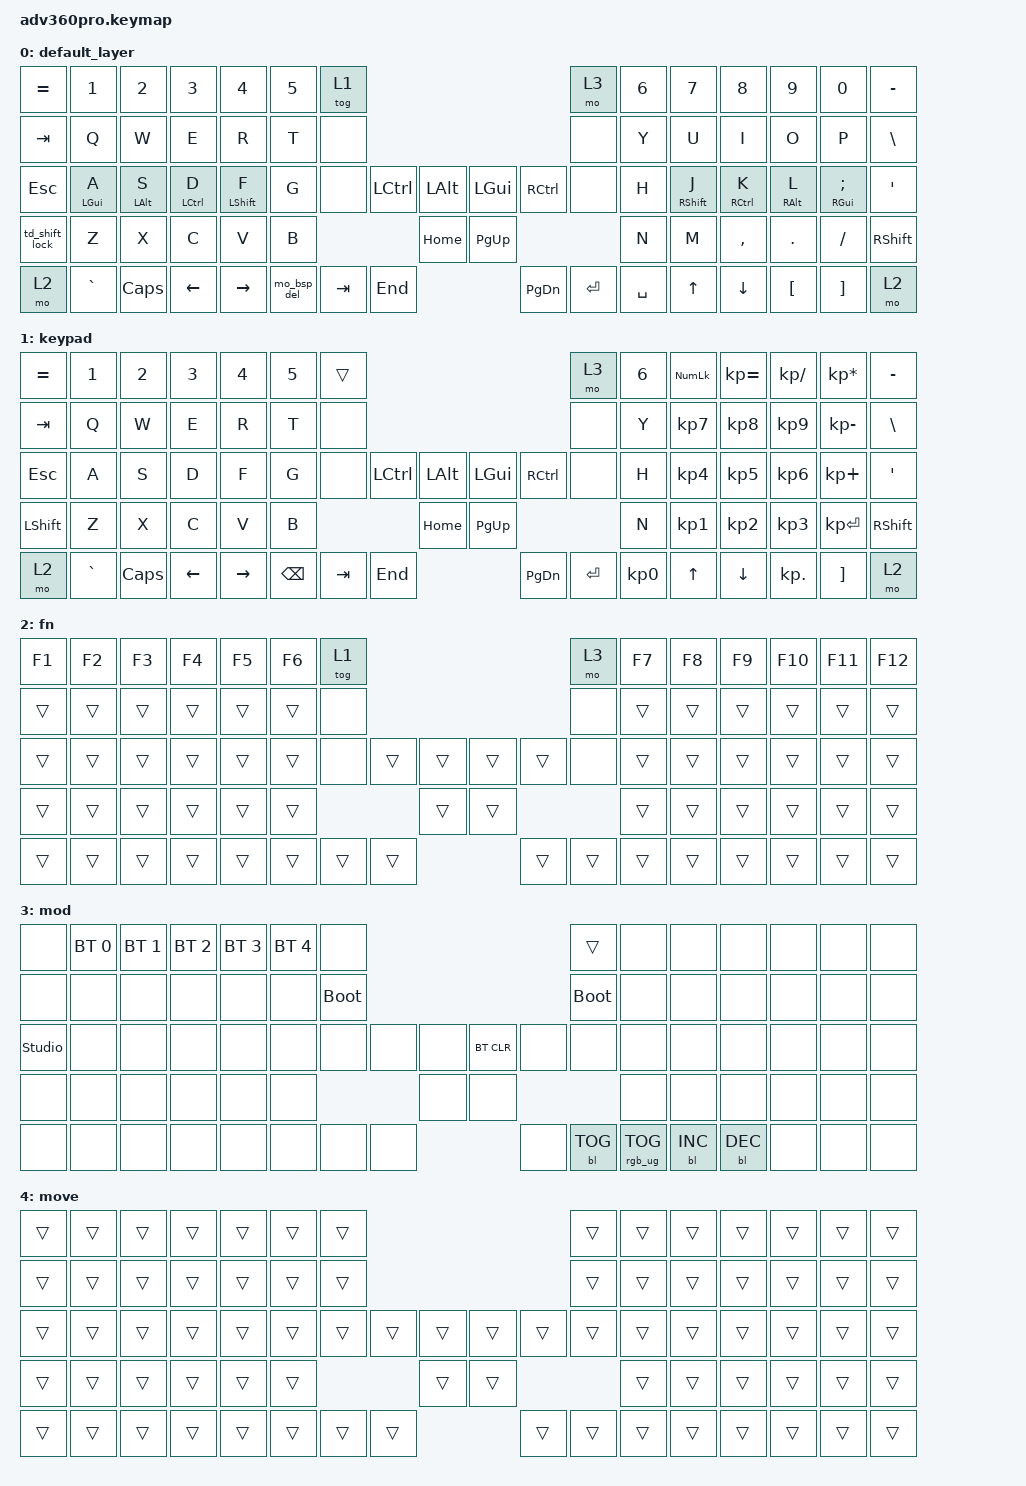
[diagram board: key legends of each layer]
#include <behaviors.dtsi>
#include <dt-bindings/zmk/backlight.h>
#include <dt-bindings/zmk/bt.h>
#include <dt-bindings/zmk/keys.h>
#include <dt-bindings/zmk/rgb.h>
#include <dt-bindings/zmk/pointing.h>

&mt {
    flavor = "balanced";
    quick-tap-ms = <100>;
    require-prior-idle-ms = <100>;
};

/ {
    behaviors {
        td_shift_lock: td_shift_lock {
            compatible = "zmk,behavior-tap-dance";
            label = "TD: Shift, Capslock";
            #binding-cells = <0>;
            bindings = <&kp LSHFT>, <&kp CAPSLOCK>;

            tapping-term-ms = <100>;
        };

        mo_bsp_del: mo_bsp_del {
            compatible = "zmk,behavior-mod-morph";
            label = "BSP / DEL";
            bindings = <&kp BACKSPACE>, <&kp DEL>;

            #binding-cells = <0>;
            mods = <(MOD_LSFT|MOD_RSFT)>;
        };
    };

    keymap {
        compatible = "zmk,keymap";

        default_layer {
            bindings = <
&kp EQUAL       &kp N1          &kp N2          &kp N3       &kp N4       &kp N5  &tog 1                                                                       &mo 3  &kp N6  &kp N7       &kp N8       &kp N9      &kp N0              &kp MINUS
&kp TAB         &kp Q           &kp W           &kp E        &kp R        &kp T   &none                                                                        &none  &kp Y   &kp U        &kp I        &kp O       &kp P               &kp BSLH
&kp ESC         &mt LEFT_GUI A  &mt LEFT_ALT S  &mt LCTRL D  &mt LSHFT F  &kp G   &none                &kp LCTRL  &kp LALT    &kp LGUI   &kp RCTRL             &none  &kp H   &mt RSHFT J  &mt RCTRL K  &mt RALT L  &mt RIGHT_GUI SEMI  &kp SQT
&td_shift_lock  &kp Z           &kp X           &kp C        &kp V        &kp B                                   &kp HOME    &kp PG_UP                               &kp N   &kp M        &kp COMMA    &kp DOT     &kp FSLH            &kp RSHFT
&mo 2           &kp GRAVE       &kp CAPS        &kp LEFT     &kp RIGHT                    &mo_bsp_del  &kp TAB    &kp END     &kp PG_DN  &kp ENTER  &kp SPACE                 &kp UP       &kp DOWN     &kp LBKT    &kp RBKT            &mo 2
            >;
        };

        keypad {
            bindings = <
&kp EQUAL  &kp N1     &kp N2    &kp N3    &kp N4     &kp N5  &trans                                                                    &mo 3  &kp N6  &kp KP_NUM  &kp KP_EQUAL  &kp KP_DIVIDE  &kp KP_MULTIPLY  &kp MINUS
&kp TAB    &kp Q      &kp W     &kp E     &kp R      &kp T   &none                                                                     &none  &kp Y   &kp KP_N7   &kp KP_N8     &kp KP_N9      &kp KP_MINUS     &kp BSLH
&kp ESC    &kp A      &kp S     &kp D     &kp F      &kp G   &none             &kp LCTRL  &kp LALT    &kp LGUI   &kp RCTRL             &none  &kp H   &kp KP_N4   &kp KP_N5     &kp KP_N6      &kp KP_PLUS      &kp SQT
&kp LSHFT  &kp Z      &kp X     &kp C     &kp V      &kp B                                &kp HOME    &kp PG_UP                               &kp N   &kp KP_N1   &kp KP_N2     &kp KP_N3      &kp KP_ENTER     &kp RSHFT
&mo 2      &kp GRAVE  &kp CAPS  &kp LEFT  &kp RIGHT                  &kp BSPC  &kp TAB    &kp END     &kp PG_DN  &kp ENTER  &kp KP_N0                 &kp UP      &kp DOWN      &kp KP_DOT     &kp RBKT         &mo 2
            >;
        };

        fn {
            bindings = <
&kp F1  &kp F2  &kp F3  &kp F4  &kp F5  &kp F6  &tog 1                                                    &mo 3  &kp F7  &kp F8  &kp F9  &kp F10  &kp F11  &kp F12
&trans  &trans  &trans  &trans  &trans  &trans  &none                                                     &none  &trans  &trans  &trans  &trans   &trans   &trans
&trans  &trans  &trans  &trans  &trans  &trans  &none           &trans  &trans    &trans  &trans          &none  &trans  &trans  &trans  &trans   &trans   &trans
&trans  &trans  &trans  &trans  &trans  &trans                          &trans    &trans                         &trans  &trans  &trans  &trans   &trans   &trans
&trans  &trans  &trans  &trans  &trans                  &trans  &trans  &trans    &trans  &trans  &trans                 &trans  &trans  &trans   &trans   &trans
            >;
        };

        mod {
            bindings = <
&none           &bt BT_SEL 0  &bt BT_SEL 1  &bt BT_SEL 2  &bt BT_SEL 3  &bt BT_SEL 4  &none                                                                        &trans       &none  &none       &none       &none  &none  &none
&none           &none         &none         &none         &none         &none         &bootloader                                                                  &bootloader  &none  &none       &none       &none  &none  &none
&studio_unlock  &none         &none         &none         &none         &none         &none               &none  &none    &bt BT_CLR  &none                        &none        &none  &none       &none       &none  &none  &none
&none           &none         &none         &none         &none         &none                                    &none    &none                                                 &none  &none       &none       &none  &none  &none
&none           &none         &none         &none         &none                                    &none  &none  &none    &none       &bl BL_TOG  &rgb_ug RGB_TOG                      &bl BL_INC  &bl BL_DEC  &none  &none  &none
            >;
        };

        move {
            bindings = <
&trans  &trans  &trans  &trans  &trans  &trans  &trans                                                    &trans  &trans  &trans  &trans  &trans  &trans  &trans
&trans  &trans  &trans  &trans  &trans  &trans  &trans                                                    &trans  &trans  &trans  &trans  &trans  &trans  &trans
&trans  &trans  &trans  &trans  &trans  &trans  &trans          &trans  &trans    &trans  &trans          &trans  &trans  &trans  &trans  &trans  &trans  &trans
&trans  &trans  &trans  &trans  &trans  &trans                          &trans    &trans                          &trans  &trans  &trans  &trans  &trans  &trans
&trans  &trans  &trans  &trans  &trans                  &trans  &trans  &trans    &trans  &trans  &trans                  &trans  &trans  &trans  &trans  &trans
            >;
        };
    };
};
